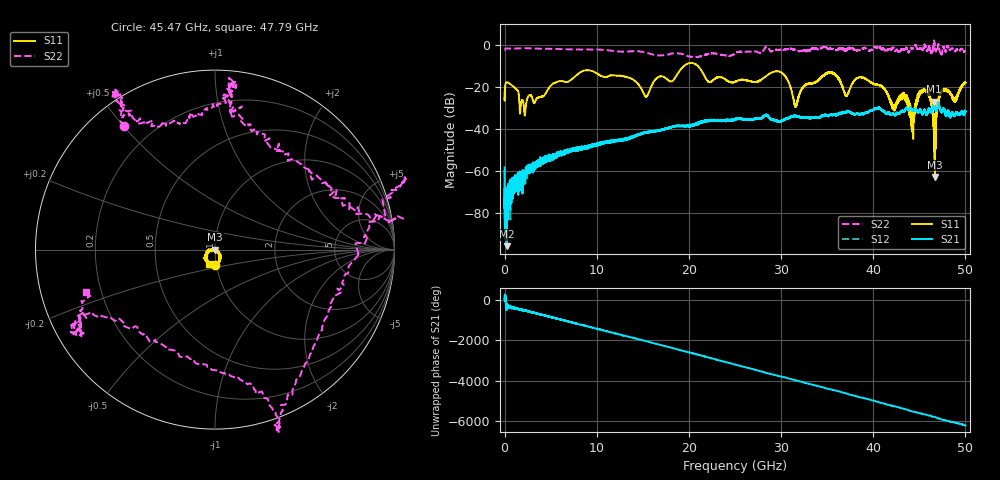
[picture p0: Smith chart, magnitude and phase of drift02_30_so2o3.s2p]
!Created with skrf (http://scikit-rf.org).
# Hz S RI R 50.0
!freq ReS11 ImS11 ReS21 ImS21 ReS12 ImS12 ReS22 ImS22
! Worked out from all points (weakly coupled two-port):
!   10001 points, 300 kHz to 50 GHz, reference 50 ohm
!   highest |S21| = -26.86 dB at 46.6 GHz (marker M1); lowest = -96.0 dB at 215.3 MHz (marker M2)
!   lowest |S11| = -63.0 dB at 46.7 GHz (marker M3), VSWR 1.00, Z = 50.1 + j0.0342 ohm
!   |S11| at or under -10 dB: start of sweep to 19.42 GHz; 21.00366 GHz to 21.0078 GHz (4.147 MHz wide, 0.0197 % of centre); 21.01 GHz to end of sweep
!   |S22| runs from -5.7 to 2.4 dB; largest |S21 - S12| = 0.0031
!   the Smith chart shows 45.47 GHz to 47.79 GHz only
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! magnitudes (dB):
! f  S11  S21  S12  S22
! 300 kHz  -22.5  -58.4  -59.9  -2.1
! 215.3 MHz  -17.6  -96.0  -73.6  -1.4
! 2.185 GHz  -33.6  -60.2  -60.4  -1.3
! 8.335 GHz  -12.5  -49.8  -49.1  -1.9
! 15.34 GHz  -24.5  -41.8  -41.5  -3.4
! 16.67 GHz  -15.1  -40.7  -40.8  -4.7
! 20.28 GHz  -8.4  -38.5  -38.3  -5.5
! 25 GHz  -17.3  -35.4  -35.5  -3.9
! 29.85 GHz  -12.6  -36.4  -36.3  -2.0
! 31.59 GHz  -28.7  -33.6  -34.1  -2.4
! 33.34 GHz  -18.0  -34.4  -34.5  -1.6
! 35.59 GHz  -13.4  -33.2  -33.4  -1.6
! 37.1 GHz  -24.2  -31.7  -31.7  -2.2
! 38.78 GHz  -15.3  -32.5  -32.6  -1.0
! 41.67 GHz  -24.5  -32.1  -32.2  -1.9
! 43.41 GHz  -23.7  -31.2  -31.4  -1.9
! 44.25 GHz  -35.2  -31.2  -31.0  -1.3
! 45.7 GHz  -21.9  -32.6  -32.4  -0.8
! 46.6 GHz  -49.6  -26.9  -26.8  2.1
! 46.7 GHz  -63.0  -29.2  -29.3  -0.6
! 47.47 GHz  -21.8  -31.7  -31.7  -3.4
! 50 GHz  -17.9  -31.4  -31.5  -2.7
